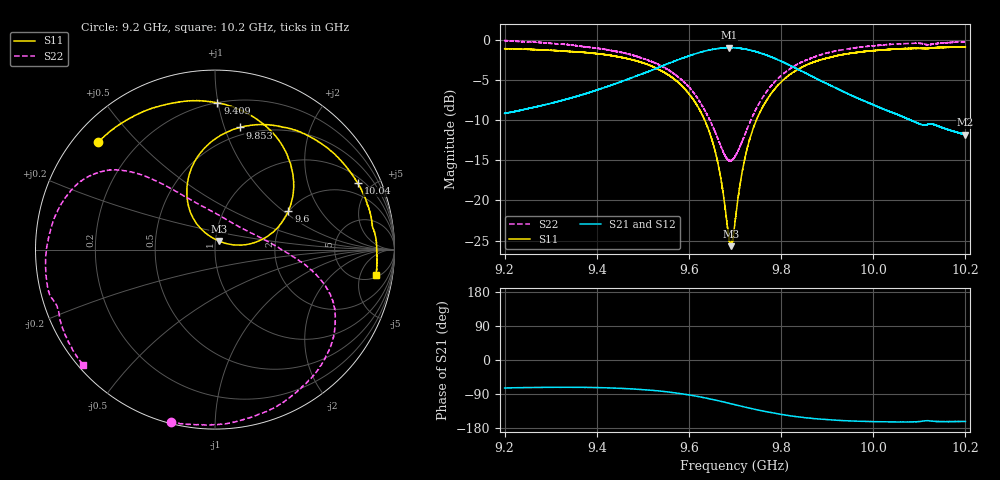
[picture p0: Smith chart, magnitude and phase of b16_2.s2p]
!Agilent Technologies,N5242A,MY51221714,A.09.90.19
!Agilent N5242A: A.09.90.19
!Date: Tuesday, March 26, 2024 16:54:44
!Correction: S11(Full 2 Port(1,2))
!S21(Full 2 Port(1,2))
!S12(Full 2 Port(1,2))
!S22(Full 2 Port(1,2))
!S2P File: Measurements: S11, S21, S12, S22:
# Hz S  dB  R 50
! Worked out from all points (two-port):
!   16001 points, 9.2 GHz to 10.2 GHz, reference 50 ohm
!   highest |S21| = -0.94 dB at 9.687 GHz (marker M1); lowest = -11.8 dB at 10.2 GHz (marker M2)
!   |S21| within 3 dB of the highest: 9.512 GHz to 9.847 GHz (335.3 MHz wide, 3.46 % of centre); 9.846953 GHz to 9.847133 GHz (180.5 kHz wide, 0.00183 % of centre)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
!   lowest |S11| = -25.7 dB at 9.691 GHz (marker M3), VSWR 1.11, Z = 51.9 + j4.96 ohm
!   |S11| at or under -10 dB: 9.634 GHz to 9.746 GHz (111.9 MHz wide, 1.15 % of centre); 9.746344 GHz to 9.746393 GHz (49.4 kHz wide, 0.000507 % of centre)
!   |S22| runs from -15.1 to 0.0 dB; largest |S21 - S12| = 0.012
!   S11 on the Smith chart (normalised r, x): 9.2 GHz: 0.07, +0.39; 9.409 GHz: 0.20, +1.00; 9.6 GHz: 1.98, +1.10; 9.853 GHz: 0.43, +1.13; 10.04 GHz: 1.28, +4.15; 10.2 GHz: 6, -9
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9.2e9  -1.07 137.3  -9.14 -73.9  -9.12 -74.7  -0.07 -104.4
9.276875e9  -1.21 120.5  -8.20 -72.4  -8.18 -73.0  -0.29 -83.6
9.366688e9  -1.50 99.7  -6.84 -72.3  -6.83 -72.9  -0.78 -60.3
9.408812e9  -1.73 89.0  -6.06 -73.0  -6.05 -73.8  -1.08 -49.9
9.473062e9  -2.40 71.2  -4.76 -76.1  -4.76 -76.7  -1.81 -35.2
9.533375e9  -3.64 52.0  -3.44 -81.5  -3.42 -82.1  -3.02 -22.7
9.599812e9  -6.68 28.0  -1.98 -92.1  -1.97 -92.7  -5.84 -9.6
9.653438e9  -13.12 9.8  -1.13 -104.8  -1.13 -105.3  -10.99 11.1
9.66975e9  -17.42 10.6  -1.01 -109.2  -1.00 -109.8  -13.27 26.7
9.686688e9  -24.65 43.1  -0.94 -114.1  -0.94 -114.6  -15.01 54.7
9.691125e9  -25.70 66.7  -0.95 -115.4  -0.94 -115.9  -15.08 63.6
9.7e9  -22.76 106.7  -0.96 -118.0  -0.95 -118.5  -14.49 79.7
9.721375e9  -14.81 125.3  -1.10 -124.2  -1.09 -124.7  -11.79 107.4
9.749625e9  -9.56 117.9  -1.51 -131.9  -1.50 -132.5  -8.17 123.8
9.792875e9  -5.65 101.2  -2.44 -142.1  -2.45 -142.8  -4.82 134.1
9.852688e9  -3.17 78.6  -4.09 -152.3  -4.09 -152.8  -2.53 143.7
9.866688e9  -2.83 73.8  -4.50 -154.0  -4.51 -154.6  -2.21 146.2
9.934938e9  -1.80 52.6  -6.43 -159.9  -6.42 -160.5  -1.19 158.7
1.003338e10  -1.18 27.0  -8.86 -163.2  -8.86 -163.9  -0.55 179.9
1.004188e10  -1.13 24.9  -9.04 -163.3  -9.04 -163.9  -0.51 -178.2
1.010019e10  -1.03 11.5  -10.44 -162.5  -10.45 -163.0  -0.40 -165.0
1.02e10  -0.83 -9.0  -11.81 -162.2  -11.80 -162.7  -0.21 -138.9
